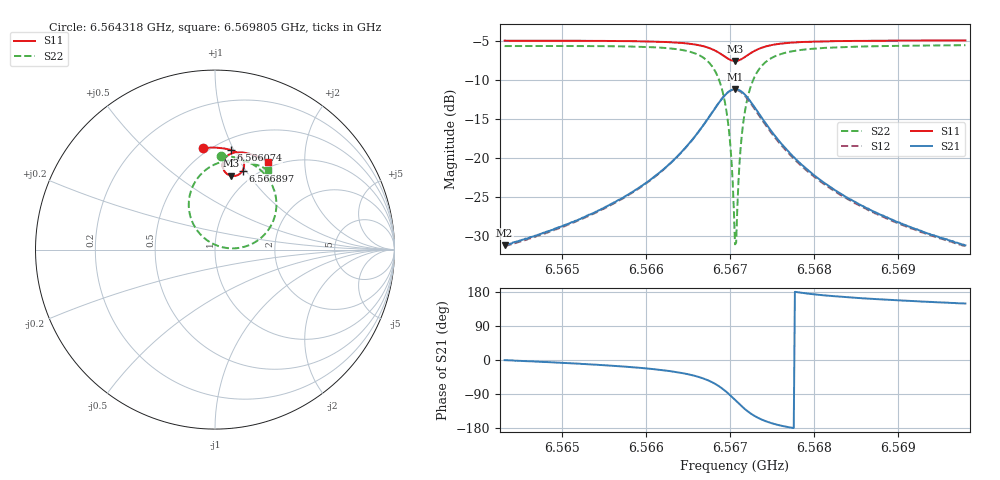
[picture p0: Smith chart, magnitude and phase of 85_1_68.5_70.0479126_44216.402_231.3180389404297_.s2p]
#  HZ  S  RI  R  50.00
! Rohde & Schwarz Vector Network Analyzer
! Rohde-Schwarz,ZNB20-2Port,1311601062101988,3.16
! Created: UTC 3/20/2024, 5:07:33 PM
! freq[Hz]  re:S11  im:S11  re:S21  im:S21  re:S12  im:S12  re:S22  im:S22
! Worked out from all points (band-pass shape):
!   401 points, 6.564318 GHz to 6.569805 GHz, reference 50 ohm
!   highest |S21| = -11.11 dB at 6.567062 GHz (marker M1); lowest = -31.2 dB at 6.564318 GHz (marker M2)
!   |S21| within 3 dB of the highest: 6.56679 GHz to 6.567338 GHz (547.6 kHz wide, 0.00834 % of centre)
!   lowest |S11| = -7.5 dB at 6.567062 GHz (marker M3), VSWR 2.45, Z = 41.3 + j41.3 ohm
!   |S11| at or under -10 dB: nowhere
!   |S22| runs from -31.0 to -5.5 dB; largest |S21 - S12| = 0.013
!   S11 on the Smith chart (normalised r, x): 6.564318 GHz: 0.46, +0.78; 6.566074 GHz: 0.60, +0.97; 6.566897 GHz: 0.86, +0.97; 6.569805 GHz: 0.92, +1.33
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6.5643181e9  -0.0656 0.5652  0.0276 -0.00018  0.0273 -0.000638  0.0336 0.5242
6.5652372e9  0.00943 0.5678  0.0407 -0.0075  0.04 -0.008  0.1201 0.5114
6.566074e9  0.0869 0.5549  0.068 -0.0299  0.0671 -0.0306  0.2272 0.464
6.5661563e9  0.0956 0.5517  0.0726 -0.0348  0.0715 -0.0358  0.2413 0.4539
6.5666639e9  0.154 0.5047  0.107 -0.1154  0.1047 -0.1177  0.3382 0.297
6.566801e9  0.1624 0.4712  0.1004 -0.174  0.0962 -0.1773  0.3331 0.1852
6.5668971e9  0.1538 0.44  0.0686 -0.2276  0.0612 -0.2306  0.2767 0.0848
6.5669519e9  0.1392 0.423  0.0327 -0.2555  0.0228 -0.257  0.2105 0.0342
6.5669931e9  0.1232 0.4138  -0.00364 -0.2693  -0.0148 -0.2688  0.1446 0.0112
6.5670205e9  0.1104 0.4106  -0.031 -0.2731  -0.0426 -0.2706  0.0952 0.00657
6.567048e9  0.0971 0.4102  -0.0594 -0.2713  -0.0709 -0.2668  0.045 0.0123
6.5670617e9  0.0904 0.4111  -0.0734 -0.2684  -0.0848 -0.2627  0.0205 0.0192
6.5670754e9  0.0839 0.4129  -0.0872 -0.264  -0.0982 -0.2574  -0.00323 0.0285
6.5670891e9  0.0775 0.4154  -0.1002 -0.2584  -0.1107 -0.2508  -0.0257 0.04
6.5671303e9  0.0612 0.4264  -0.1347 -0.2343  -0.1431 -0.2248  -0.0827 0.0862
6.5671714e9  0.0499 0.4414  -0.1594 -0.2042  -0.1651 -0.1932  -0.1211 0.1427
6.5672263e9  0.0431 0.463  -0.177 -0.1615  -0.1792 -0.1505  -0.1444 0.2197
6.5672949e9  0.0451 0.4873  -0.1799 -0.1139  -0.179 -0.1046  -0.1409 0.3023
6.5675418e9  0.0835 0.5319  -0.1363 -0.0251  -0.1333 -0.021  -0.0425 0.4509
6.5679808e9  0.1444 0.5422  -0.0794 0.00851  -0.0774 0.00976  0.0876 0.4972
6.5688999e9  0.2293 0.521  -0.0383 0.0149  -0.0375 0.0152  0.2177 0.4791
6.5698053e9  0.2959 0.4881  -0.0238 0.0142  -0.0232 0.0145  0.296 0.4422
